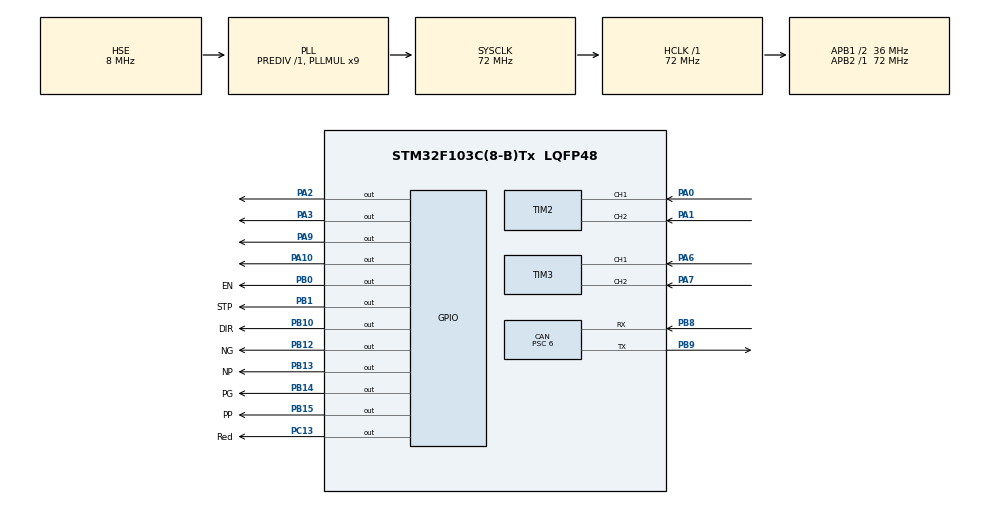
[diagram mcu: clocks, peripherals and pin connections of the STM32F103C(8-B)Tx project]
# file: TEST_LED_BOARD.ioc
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CAN.BS1=CAN_BS1_2TQ
CAN.BS2=CAN_BS2_3TQ
CAN.CalculateBaudRate=999999
CAN.CalculateTimeBit=1000
CAN.CalculateTimeQuantum=166.66666666666669
CAN.NART=DISABLE
CAN.Prescaler=6
Mcu.Family=STM32F1
Mcu.Name=STM32F103C(8-B)Tx
Mcu.Package=LQFP48
NVIC.PriorityGroup=NVIC_PRIORITYGROUP_0
NVIC.TIM1_UP_IRQn=true\:0\:0\:false\:false\:true\:true\:true\:true
NVIC.TIM2_IRQn=true\:0\:0\:false\:false\:true\:true\:true\:true
NVIC.TIM3_IRQn=true\:0\:0\:false\:false\:true\:true\:true\:true
NVIC.USB_LP_CAN1_RX0_IRQn=true\:0\:0\:false\:false\:true\:true\:true\:true
PA0-WKUP.GPIO_PuPd=GPIO_PULLUP
PA0-WKUP.Signal=S_TIM2_CH1_ETR
PA1.GPIO_PuPd=GPIO_PULLUP
PA1.Signal=S_TIM2_CH2
PA10.GPIO_PuPd=GPIO_NOPULL
PA10.Signal=GPIO_Output
PA13.Mode=Serial_Wire
PA13.Signal=SYS_JTMS-SWDIO
PA14.Mode=Serial_Wire
PA14.Signal=SYS_JTCK-SWCLK
PA2.GPIO_PuPd=GPIO_NOPULL
PA2.Signal=GPIO_Output
PA3.GPIO_PuPd=GPIO_NOPULL
PA3.Signal=GPIO_Output
PA6.GPIO_PuPd=GPIO_PULLUP
PA6.Signal=S_TIM3_CH1
PA7.GPIO_PuPd=GPIO_PULLUP
PA7.Signal=S_TIM3_CH2
PA9.GPIO_PuPd=GPIO_NOPULL
PA9.Signal=GPIO_Output
PB0.GPIO_Label=EN
PB0.Signal=GPIO_Output
PB1.GPIO_Label=STP
PB1.Signal=GPIO_Output
PB10.GPIO_Label=DIR
PB10.Signal=GPIO_Output
PB12.GPIO_Label=NG
PB12.GPIO_Speed=GPIO_SPEED_FREQ_HIGH
PB12.PinState=GPIO_PIN_SET
PB12.Signal=GPIO_Output
PB13.GPIO_Label=NP
PB13.GPIO_Speed=GPIO_SPEED_FREQ_HIGH
PB13.PinState=GPIO_PIN_SET
PB13.Signal=GPIO_Output
PB14.GPIO_Label=PG
PB14.GPIO_Speed=GPIO_SPEED_FREQ_HIGH
PB14.PinState=GPIO_PIN_SET
PB14.Signal=GPIO_Output
PB15.GPIO_Label=PP
PB15.GPIO_Speed=GPIO_SPEED_FREQ_HIGH
PB15.PinState=GPIO_PIN_SET
PB15.Signal=GPIO_Output
PB8.Mode=CAN_Activate
PB8.Signal=CAN_RX
PB9.Mode=CAN_Activate
PB9.Signal=CAN_TX
PC13-TAMPER-RTC.GPIO_Label=Red
PC13-TAMPER-RTC.Signal=GPIO_Output
PC14-OSC32_IN.Mode=LSE-External-Oscillator
PC14-OSC32_IN.Signal=RCC_OSC32_IN
PC15-OSC32_OUT.Mode=LSE-External-Oscillator
PC15-OSC32_OUT.Signal=RCC_OSC32_OUT
PD0-OSC_IN.Mode=HSE-External-Oscillator
PD0-OSC_IN.Signal=RCC_OSC_IN
PD1-OSC_OUT.Mode=HSE-External-Oscillator
PD1-OSC_OUT.Signal=RCC_OSC_OUT
ProjectManager.HeapSize=0x200
ProjectManager.StackSize=0x400
ProjectManager.TargetToolchain=STM32CubeIDE
RCC.AHBFreq_Value=72000000
RCC.APB1CLKDivider=RCC_HCLK_DIV2
RCC.APB1Freq_Value=36000000
RCC.APB1TimFreq_Value=72000000
RCC.APB2Freq_Value=72000000
RCC.APB2TimFreq_Value=72000000
RCC.HCLKFreq_Value=72000000
RCC.PLLMUL=RCC_PLL_MUL9
RCC.PLLSourceVirtual=RCC_PLLSOURCE_HSE
RCC.SYSCLKFreq_VALUE=72000000
RCC.SYSCLKSource=RCC_SYSCLKSOURCE_PLLCLK
RCC.USBFreq_Value=72000000
SH.S_TIM2_CH1_ETR.0=TIM2_CH1,Encoder_Interface
SH.S_TIM2_CH2.0=TIM2_CH2,Encoder_Interface
SH.S_TIM3_CH1.0=TIM3_CH1,Encoder_Interface
SH.S_TIM3_CH2.0=TIM3_CH2,Encoder_Interface
TIM1.Period=999
TIM1.Prescaler=71
TIM2.AutoReloadPreload=TIM_AUTORELOAD_PRELOAD_DISABLE
TIM2.EncoderMode=TIM_ENCODERMODE_TI12
TIM2.IC1Polarity=TIM_ICPOLARITY_FALLING
TIM2.IC2Polarity=TIM_ICPOLARITY_FALLING
TIM2.TIM_MasterOutputTrigger=TIM_TRGO_ENABLE
TIM2.TIM_MasterSlaveMode=TIM_MASTERSLAVEMODE_ENABLE
TIM3.EncoderMode=TIM_ENCODERMODE_TI12
TIM3.IC1Polarity=TIM_ICPOLARITY_FALLING
TIM3.IC2Polarity=TIM_ICPOLARITY_FALLING
TIM4.Prescaler=71
VP_TIM1_VS_ClockSourceINT.Mode=Internal
VP_TIM4_VS_ClockSourceINT.Mode=Internal
board=custom

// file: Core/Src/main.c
/* USER CODE BEGIN Header */
/**
 ******************************************************************************
 * @file           : main.c
 * @brief          : Main program body
 ******************************************************************************
 * @attention
 *
 * Copyright (c) 2023 STMicroelectronics.
 * All rights reserved.
 *
 * This software is licensed under terms that can be found in the LICENSE file
 * in the root directory of this software component.
 * If no LICENSE file comes with this software, it is provided AS-IS.
 *
 ******************************************************************************
 */
/* USER CODE END Header */
#include "main.h"

/* USER CODE BEGIN Includes */
#include <stdio.h>
#include <stdbool.h>
#include <string.h>
#include <stdlib.h>
#include <math.h>
/* USER CODE END Includes */

/* USER CODE BEGIN PTD */

CAN_TxHeaderTypeDef TX_CAN_HEADER;
CAN_RxHeaderTypeDef RX_CAN_HEADER;
CAN_FilterTypeDef canfilterconfig;

//=============MODE
#define AC_SERVO 0
#define DC_MOTOR 1

bool Mode = DC_MOTOR;
//=============MOTOR
#define GearboxAC_DtoP 4000*1/360 //Manual setup
#define GearboxStep_DtoP 816/90 // gear box of step motor
#define PosToDeg 1/45.56424581005592 // convert position to angle

float previousAngle = 0; // Update angle
bool Run = false;

uint16_t count = 0; // for debug
//=============UART
#define TxBufferSize 4  //Transmit Data
#define RxBufferSize 10 //Receive Data Position

#define UART_OK 1
#define UART_NOT_OK 0

uint8_t TxDataUart[TxBufferSize];
uint8_t RxDataUart[RxBufferSize];
uint8_t countCallEncoderSTP = 0;
uint32_t position = 0; // for debug

int sign; // xet dau cho goc tu step encoder
int Angle; //debug
float Theta = 0; // giai ma goc tu encoder (debug)
float t_sethome = 0;

bool flag_stateUart = UART_OK;
bool flag_readUartData = 0;
//=============CAN
struct configDataSend
{
	int timeDelay;
	int loopTimes;
}sendData;

uint8_t SEND[2];

uint8_t Data_Decode[6]; //du lieu send (debug)
uint8_t CAN_Data_Rx[8]; // du lieu nhan tu can
uint32_t TxMailBox;

float pulseEnd = 0; //luu xung cho lan tiep
bool Check_Data = 0; //kiem tra du lie

char Data_Saved[8]; //du lieu duoc luu vao sau khi nhan tu CAN
bool flag_send = false; // cho phep gui du lieu
bool flag_run = false;

//=============TIMER1
bool flag_timer1 = false;
bool flag_enable_send = false;

uint8_t countSampleTime = 0; // time for sampling
uint8_t countSendData = 0; // time for send data to CAN

//=============END=============

/* USER CODE END PTD */

/* USER CODE BEGIN PM */
volatile short ExternalPulse;
/* USER CODE END PM */

CAN_HandleTypeDef hcan;

TIM_HandleTypeDef htim1;
TIM_HandleTypeDef htim2;
TIM_HandleTypeDef htim3;
TIM_HandleTypeDef htim4;

void SystemClock_Config(void);
static void MX_GPIO_Init(void);
static void MX_TIM1_Init(void);
static void MX_TIM2_Init(void);
static void MX_TIM3_Init(void);
static void MX_TIM4_Init(void);
static void MX_CAN_Init(void);

int main(void)
{

	/* MCU Configuration--------------------------------------------------------*/

	/* Reset of all peripherals, Initializes the Flash interface and the Systick. */
	HAL_Init();

	/* Configure the system clock */
	SystemClock_Config();

	/* Initialize all configured peripherals */
	MX_GPIO_Init();
	MX_TIM1_Init();
	MX_TIM2_Init();
	MX_TIM3_Init();
	MX_TIM4_Init();
	MX_CAN_Init();
	/* USER CODE BEGIN 2 */

	//========CAN
	HAL_CAN_Start(&hcan);
	HAL_CAN_ActivateNotification(&hcan, CAN_IT_RX_FIFO0_MSG_PENDING); // Enable interrupts

	//========TIMER AND COUNTER
	HAL_TIM_Base_Start(&htim4);
	HAL_TIM_Base_Start_IT(&htim1);

	//========UART
	HAL_Delay(100);

	//========ENCODER
	HAL_TIM_Encoder_Start_IT(&htim2, TIM_CHANNEL_1|TIM_CHANNEL_2);

	//========SET DEFAULT PIN MODE
	HAL_GPIO_WritePin(GPIOB, PP_Pin, GPIO_PIN_SET);
	HAL_GPIO_WritePin(GPIOB, PG_Pin, GPIO_PIN_SET);
	HAL_GPIO_WritePin(GPIOB, NP_Pin, GPIO_PIN_SET);
	HAL_GPIO_WritePin(GPIOB, NG_Pin, GPIO_PIN_SET);

	/* USER CODE END 2 */

	/* Infinite loop */
	while (1)
	{

		/* USER CODE BEGIN 3 */
		HAL_GPIO_WritePin(GPIOA, GPIO_PIN_10, GPIO_PIN_RESET);
		HAL_GPIO_WritePin(GPIOA, GPIO_PIN_9, GPIO_PIN_RESET);
		HAL_GPIO_WritePin(GPIOA, GPIO_PIN_2, GPIO_PIN_RESET);
		HAL_GPIO_WritePin(GPIOA, GPIO_PIN_3, GPIO_PIN_RESET);

		//		HAL_GPIO_TogglePin(NG_GPIO_Port, NG_Pin);
		//		HAL_Delay(1000);
		//		HAL_GPIO_TogglePin(NP_GPIO_Port, NP_Pin);
		//		HAL_Delay(1000);
		//		HAL_GPIO_TogglePin(PG_GPIO_Port, PG_Pin);
		//		HAL_Delay(1000);
		//		HAL_GPIO_TogglePin(PP_GPIO_Port, PP_Pin);
		//		HAL_Delay(1000);
	}
	/* USER CODE END 3 */
}

void SystemClock_Config(void)
{
	RCC_OscInitTypeDef RCC_OscInitStruct = {0};
	RCC_ClkInitTypeDef RCC_ClkInitStruct = {0};

	/** Initializes the RCC Oscillators according to the specified parameters
	 * in the RCC_OscInitTypeDef structure.
	 */
	RCC_OscInitStruct.OscillatorType = RCC_OSCILLATORTYPE_HSE;
	RCC_OscInitStruct.HSEState = RCC_HSE_ON;
	RCC_OscInitStruct.HSEPredivValue = RCC_HSE_PREDIV_DIV1;
	RCC_OscInitStruct.HSIState = RCC_HSI_ON;
	RCC_OscInitStruct.PLL.PLLState = RCC_PLL_ON;
	RCC_OscInitStruct.PLL.PLLSource = RCC_PLLSOURCE_HSE;
	RCC_OscInitStruct.PLL.PLLMUL = RCC_PLL_MUL9;
	if (HAL_RCC_OscConfig(&RCC_OscInitStruct) != HAL_OK)
	{
		Error_Handler();
	}

	/** Initializes the CPU, AHB and APB buses clocks
	 */
	RCC_ClkInitStruct.ClockType = RCC_CLOCKTYPE_HCLK|RCC_CLOCKTYPE_SYSCLK
			|RCC_CLOCKTYPE_PCLK1|RCC_CLOCKTYPE_PCLK2;
	RCC_ClkInitStruct.SYSCLKSource = RCC_SYSCLKSOURCE_PLLCLK;
	RCC_ClkInitStruct.AHBCLKDivider = RCC_SYSCLK_DIV1;
	RCC_ClkInitStruct.APB1CLKDivider = RCC_HCLK_DIV2;
	RCC_ClkInitStruct.APB2CLKDivider = RCC_HCLK_DIV1;

	if (HAL_RCC_ClockConfig(&RCC_ClkInitStruct, FLASH_LATENCY_2) != HAL_OK)
	{
		Error_Handler();
	}
}

static void MX_CAN_Init(void)
{

	hcan.Instance = CAN1;
	hcan.Init.Prescaler = 6;
	hcan.Init.Mode = CAN_MODE_NORMAL;
	hcan.Init.SyncJumpWidth = CAN_SJW_1TQ;
	hcan.Init.TimeSeg1 = CAN_BS1_2TQ;
	hcan.Init.TimeSeg2 = CAN_BS2_3TQ;
	hcan.Init.TimeTriggeredMode = DISABLE;
	hcan.Init.AutoBusOff = DISABLE;
	hcan.Init.AutoWakeUp = DISABLE;
	hcan.Init.AutoRetransmission = DISABLE;
	hcan.Init.ReceiveFifoLocked = DISABLE;
	hcan.Init.TransmitFifoPriority = DISABLE;
	if (HAL_CAN_Init(&hcan) != HAL_OK)
	{
		Error_Handler();
	}
	/* USER CODE BEGIN CAN_Init 2 */
	canfilterconfig.FilterActivation = CAN_FILTER_ENABLE;
	canfilterconfig.FilterBank = 1; // which filter bank to use from the assigned ones
	canfilterconfig.FilterFIFOAssignment = CAN_FILTER_FIFO0; //
	canfilterconfig.FilterIdHigh = 0x000 << 5;
	canfilterconfig.FilterIdLow = 0x000;
	canfilterconfig.FilterMaskIdHigh = 0xfff << 5;
	canfilterconfig.FilterMaskIdLow = 0x000;
	canfilterconfig.FilterMode = CAN_FILTERMODE_IDMASK;
	canfilterconfig.FilterScale = CAN_FILTERSCALE_32BIT;
	canfilterconfig.SlaveStartFilterBank = 1;

	if(HAL_CAN_ConfigFilter(&hcan, &canfilterconfig) != HAL_OK) // add
	{
		Error_Handler();
	}
	/* -----------------------------CAN Transmit and Interrrupts ----------------------------- */
	TX_CAN_HEADER.RTR= CAN_RTR_DATA; //Remote transmission request = Data frame
	TX_CAN_HEADER.IDE= CAN_ID_STD; 	 //Standard Id (11 bits for the identifier)
	TX_CAN_HEADER.DLC= 2;
	//	TX_CAN_HEADER.StdId = 0x000;

	/* USER CODE END CAN_Init 2 */

}

static void MX_TIM1_Init(void)
{

	TIM_ClockConfigTypeDef sClockSourceConfig = {0};
	TIM_MasterConfigTypeDef sMasterConfig = {0};

	htim1.Instance = TIM1;
	htim1.Init.Prescaler = 71;
	htim1.Init.CounterMode = TIM_COUNTERMODE_UP;
	htim1.Init.Period = 999;
	htim1.Init.ClockDivision = TIM_CLOCKDIVISION_DIV1;
	htim1.Init.RepetitionCounter = 0;
	htim1.Init.AutoReloadPreload = TIM_AUTORELOAD_PRELOAD_DISABLE;
	if (HAL_TIM_Base_Init(&htim1) != HAL_OK)
	{
		Error_Handler();
	}
	sClockSourceConfig.ClockSource = TIM_CLOCKSOURCE_INTERNAL;
	if (HAL_TIM_ConfigClockSource(&htim1, &sClockSourceConfig) != HAL_OK)
	{
		Error_Handler();
	}
	sMasterConfig.MasterOutputTrigger = TIM_TRGO_RESET;
	sMasterConfig.MasterSlaveMode = TIM_MASTERSLAVEMODE_DISABLE;
	if (HAL_TIMEx_MasterConfigSynchronization(&htim1, &sMasterConfig) != HAL_OK)
	{
		Error_Handler();
	}

}

static void MX_TIM2_Init(void)
{

	TIM_Encoder_InitTypeDef sConfig = {0};
	TIM_MasterConfigTypeDef sMasterConfig = {0};

	htim2.Instance = TIM2;
	htim2.Init.Prescaler = 0;
	htim2.Init.CounterMode = TIM_COUNTERMODE_UP;
	htim2.Init.Period = 65535;
	htim2.Init.ClockDivision = TIM_CLOCKDIVISION_DIV1;
	htim2.Init.AutoReloadPreload = TIM_AUTORELOAD_PRELOAD_DISABLE;
	sConfig.EncoderMode = TIM_ENCODERMODE_TI12;
	sConfig.IC1Polarity = TIM_ICPOLARITY_FALLING;
	sConfig.IC1Selection = TIM_ICSELECTION_DIRECTTI;
	sConfig.IC1Prescaler = TIM_ICPSC_DIV1;
	sConfig.IC1Filter = 0;
	sConfig.IC2Polarity = TIM_ICPOLARITY_FALLING;
	sConfig.IC2Selection = TIM_ICSELECTION_DIRECTTI;
	sConfig.IC2Prescaler = TIM_ICPSC_DIV1;
	sConfig.IC2Filter = 0;
	if (HAL_TIM_Encoder_Init(&htim2, &sConfig) != HAL_OK)
	{
		Error_Handler();
	}
	sMasterConfig.MasterOutputTrigger = TIM_TRGO_ENABLE;
	sMasterConfig.MasterSlaveMode = TIM_MASTERSLAVEMODE_ENABLE;
	if (HAL_TIMEx_MasterConfigSynchronization(&htim2, &sMasterConfig) != HAL_OK)
	{
		Error_Handler();
	}

}

static void MX_TIM3_Init(void)
{

	TIM_Encoder_InitTypeDef sConfig = {0};
	TIM_MasterConfigTypeDef sMasterConfig = {0};

	htim3.Instance = TIM3;
	htim3.Init.Prescaler = 0;
	htim3.Init.CounterMode = TIM_COUNTERMODE_UP;
	htim3.Init.Period = 65535;
	htim3.Init.ClockDivision = TIM_CLOCKDIVISION_DIV1;
	htim3.Init.AutoReloadPreload = TIM_AUTORELOAD_PRELOAD_DISABLE;
	sConfig.EncoderMode = TIM_ENCODERMODE_TI12;
	sConfig.IC1Polarity = TIM_ICPOLARITY_FALLING;
	sConfig.IC1Selection = TIM_ICSELECTION_DIRECTTI;
	sConfig.IC1Prescaler = TIM_ICPSC_DIV1;
	sConfig.IC1Filter = 0;
	sConfig.IC2Polarity = TIM_ICPOLARITY_FALLING;
	sConfig.IC2Selection = TIM_ICSELECTION_DIRECTTI;
	sConfig.IC2Prescaler = TIM_ICPSC_DIV1;
	sConfig.IC2Filter = 0;
	if (HAL_TIM_Encoder_Init(&htim3, &sConfig) != HAL_OK)
	{
		Error_Handler();
	}
	sMasterConfig.MasterOutputTrigger = TIM_TRGO_RESET;
	sMasterConfig.MasterSlaveMode = TIM_MASTERSLAVEMODE_DISABLE;
	if (HAL_TIMEx_MasterConfigSynchronization(&htim3, &sMasterConfig) != HAL_OK)
	{
		Error_Handler();
	}

}

static void MX_TIM4_Init(void)
{

	TIM_ClockConfigTypeDef sClockSourceConfig = {0};
	TIM_MasterConfigTypeDef sMasterConfig = {0};

	htim4.Instance = TIM4;
	htim4.Init.Prescaler = 71;
	htim4.Init.CounterMode = TIM_COUNTERMODE_UP;
	htim4.Init.Period = 65535;
	htim4.Init.ClockDivision = TIM_CLOCKDIVISION_DIV1;
	htim4.Init.AutoReloadPreload = TIM_AUTORELOAD_PRELOAD_DISABLE;
	if (HAL_TIM_Base_Init(&htim4) != HAL_OK)
	{
		Error_Handler();
	}
	sClockSourceConfig.ClockSource = TIM_CLOCKSOURCE_INTERNAL;
	if (HAL_TIM_ConfigClockSource(&htim4, &sClockSourceConfig) != HAL_OK)
	{
		Error_Handler();
	}
	sMasterConfig.MasterOutputTrigger = TIM_TRGO_RESET;
	sMasterConfig.MasterSlaveMode = TIM_MASTERSLAVEMODE_DISABLE;
	if (HAL_TIMEx_MasterConfigSynchronization(&htim4, &sMasterConfig) != HAL_OK)
	{
		Error_Handler();
	}

}

static void MX_GPIO_Init(void)
{
	GPIO_InitTypeDef GPIO_InitStruct = {0};

	/* GPIO Ports Clock Enable */
	__HAL_RCC_GPIOC_CLK_ENABLE();
	__HAL_RCC_GPIOD_CLK_ENABLE();
	__HAL_RCC_GPIOA_CLK_ENABLE();
	__HAL_RCC_GPIOB_CLK_ENABLE();

	/*Configure GPIO pin Output Level */
	HAL_GPIO_WritePin(Red_GPIO_Port, Red_Pin, GPIO_PIN_RESET);

	/*Configure GPIO pin Output Level */
	HAL_GPIO_WritePin(GPIOA, GPIO_PIN_2|GPIO_PIN_3|GPIO_PIN_9|GPIO_PIN_10, GPIO_PIN_RESET);

	/*Configure GPIO pin Output Level */
	HAL_GPIO_WritePin(GPIOB, EN_Pin|STP_Pin|DIR_Pin, GPIO_PIN_RESET);

	/*Configure GPIO pin Output Level */
	HAL_GPIO_WritePin(GPIOB, NG_Pin|NP_Pin|PG_Pin|PP_Pin, GPIO_PIN_SET);

	/*Configure GPIO pin : Red_Pin */
	GPIO_InitStruct.Pin = Red_Pin;
	GPIO_InitStruct.Mode = GPIO_MODE_OUTPUT_PP;
	GPIO_InitStruct.Pull = GPIO_NOPULL;
	GPIO_InitStruct.Speed = GPIO_SPEED_FREQ_LOW;
	HAL_GPIO_Init(Red_GPIO_Port, &GPIO_InitStruct);

	/*Configure GPIO pins : PA2 PA3 PA9 PA10 */
	GPIO_InitStruct.Pin = GPIO_PIN_2|GPIO_PIN_3|GPIO_PIN_9|GPIO_PIN_10;
	GPIO_InitStruct.Mode = GPIO_MODE_OUTPUT_PP;
	GPIO_InitStruct.Pull = GPIO_NOPULL;
	GPIO_InitStruct.Speed = GPIO_SPEED_FREQ_LOW;
	HAL_GPIO_Init(GPIOA, &GPIO_InitStruct);

	/*Configure GPIO pins : EN_Pin STP_Pin DIR_Pin */
	GPIO_InitStruct.Pin = EN_Pin|STP_Pin|DIR_Pin;
	GPIO_InitStruct.Mode = GPIO_MODE_OUTPUT_PP;
	GPIO_InitStruct.Pull = GPIO_NOPULL;
	GPIO_InitStruct.Speed = GPIO_SPEED_FREQ_LOW;
	HAL_GPIO_Init(GPIOB, &GPIO_InitStruct);

	/*Configure GPIO pins : NG_Pin NP_Pin PG_Pin PP_Pin */
	GPIO_InitStruct.Pin = NG_Pin|NP_Pin|PG_Pin|PP_Pin;
	GPIO_InitStruct.Mode = GPIO_MODE_OUTPUT_PP;
	GPIO_InitStruct.Pull = GPIO_NOPULL;
	GPIO_InitStruct.Speed = GPIO_SPEED_FREQ_HIGH;
	HAL_GPIO_Init(GPIOB, &GPIO_InitStruct);

}

void Error_Handler(void)
{
	__disable_irq();
	while (1)
	{
	}
}
